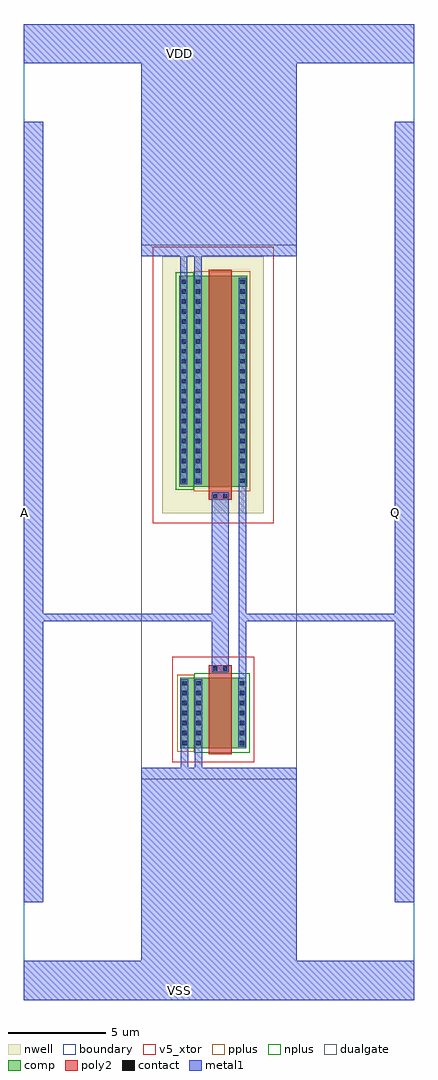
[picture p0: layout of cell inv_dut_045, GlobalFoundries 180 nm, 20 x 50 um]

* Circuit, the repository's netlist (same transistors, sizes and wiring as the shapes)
* inv_dut_045: pfet_05v0 W=10.80u L=1.20u / nfet_05v0 W=3.60u L=1.20u
.SUBCKT inv_dut_045 A Q VDD VSS
MMP Q A VDD VDD pfet_05v0 W=10.80u L=1.20u
MMN Q A VSS VSS nfet_05v0 W=3.60u L=1.20u
.ENDS

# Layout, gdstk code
import gdstk
lib = gdstk.Library(unit=1e-6, precision=1e-09)
def R(c, l, rs):  # rectangles x0, y0, x1, y1
    for r in rs: c.add(gdstk.rectangle(r[:2], r[2:], *l))
def A(c, l, x, y, w, h, nx, ny, dx, dy):  # array of equal rectangles
    R(c, l, [(x+i*dx, y+j*dy, x+i*dx+w, y+j*dy+h) for i in range(nx) for j in range(ny)])
boundary = (0, 0)
nwell = (21, 0)
comp = (22, 0)
poly2 = (30, 0)
pplus = (31, 0)
nplus = (32, 0)
contact = (33, 0)
metal1 = (34, 0)
dualgate = (55, 0)
v5_xtor = (112, 1)

inv_dut_045 = lib.new_cell('inv_dut_045')
R(inv_dut_045, boundary, [(-10,-25,10,25)])
R(inv_dut_045, nwell, [(-2.895,-0.07,2.295,13.09)])
R(inv_dut_045, comp, [(-1.975,-12.1,1.395,-8.5), (-2.035,1.3,1.435,12.1)])
R(inv_dut_045, poly2, [(-0.535,-12.4,0.665,-7.84), (-0.535,0.62,0.665,12.4)])
R(inv_dut_045, pplus, [(-2.145,-12.27,-1.265,-8.33), (-1.305,1.06,1.605,12.34)])
R(inv_dut_045, nplus, [(-1.265,-12.34,1.565,-8.26), (-2.205,1.13,-1.305,12.27)])
A(inv_dut_045, contact, -1.875, -11.94, 0.22, 0.22, 1, 7, 0, 0.51)
A(inv_dut_045, contact, -1.165, -11.94, 0.22, 0.22, 1, 7, 0, 0.51)
A(inv_dut_045, contact, 1.075, -11.94, 0.22, 0.22, 1, 7, 0, 0.51)
A(inv_dut_045, contact, -1.915, 1.49, 0.22, 0.22, 1, 21, 0, 0.51)
A(inv_dut_045, contact, -1.185, 1.49, 0.22, 0.22, 1, 21, 0, 0.51)
A(inv_dut_045, contact, 1.095, 1.49, 0.22, 0.22, 1, 21, 0, 0.51)
R(inv_dut_045, contact, [(-0.3,-8.13,-0.08,-7.91), (0.21,-8.13,0.43,-7.91), (-0.3,0.7,-0.08,0.92), (0.21,0.7,0.43,0.92)])
R(inv_dut_045, metal1, [(-10,-25,10,-23), (-3.995,-23,3.995,-13.4), (-10,-20,-9,20), (9,-20,10,20), (-3.995,-13.7,3.995,-13.1), (-1.955,-13.7,-1.575,-8.58), (-1.245,-13.7,-0.865,-8.58), (-1.955,-12.02,-1.575,-8.58), (-1.245,-12.02,-0.865,-8.58), (0.995,-12.02,1.375,-8.58), (0.995,-8.96,1.395,-8.58), (1.015,-8.96,1.395,1.79), (-0.38,-8.21,0.51,1), (-0.38,-8.21,0.51,-7.83), (-9,-5.6,-3.695,-5.2), (-3.995,-5.6,0.51,-5.2), (1.015,-5.6,3.995,-5.2), (3.695,-5.6,9,-5.2), (-0.38,0.62,0.51,1), (-1.995,1.41,-1.615,13.7), (-1.995,1.41,-1.615,11.99), (-1.265,1.41,-0.885,13.7), (-1.265,1.41,-0.885,11.99), (1.015,1.41,1.395,1.79), (1.015,1.41,1.395,11.99), (-3.995,13.1,3.995,13.7), (-3.995,13.4,3.995,23), (-10,23,10,25)])
R(inv_dut_045, dualgate, [(-3.995,-13.7,3.995,13.7), (-2.395,-12.81,1.815,-7.42), (-3.395,-0.57,2.795,13.59)])
R(inv_dut_045, v5_xtor, [(-2.395,-12.81,1.815,-7.42), (-3.395,-0.57,2.795,13.59)])
inv_dut_045.add(gdstk.Label('VDD', (-2,23.5), layer=34, texttype=10))
inv_dut_045.add(gdstk.Label('VSS', (-2,-24.5), layer=34, texttype=10))
inv_dut_045.add(gdstk.Label('A', (-9.97,0), layer=34, texttype=10))
inv_dut_045.add(gdstk.Label('Q', (9.03,0), layer=34, texttype=10))

lib.write_gds('inv_dut_045.gds')
